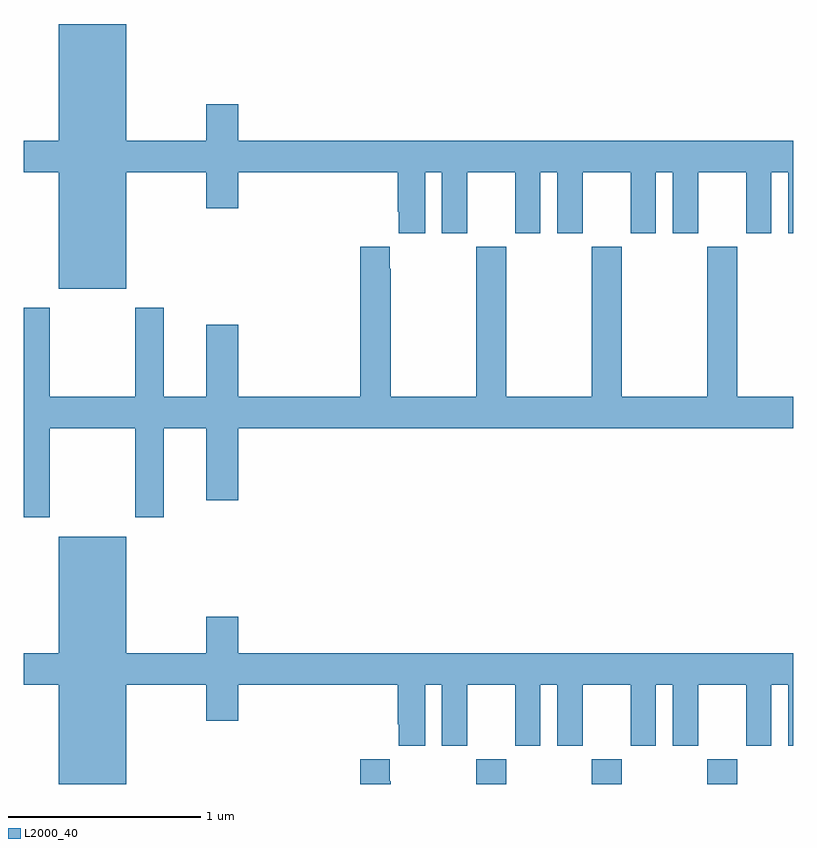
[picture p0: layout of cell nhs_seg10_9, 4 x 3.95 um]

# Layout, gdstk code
import gdstk
lib = gdstk.Library(unit=1e-6, precision=1e-09)
def R(c, l, rs):  # rectangles x0, y0, x1, y1
    for r in rs: c.add(gdstk.rectangle(r[:2], r[2:], *l))
def A(c, l, x, y, w, h, nx, ny, dx, dy):  # array of equal rectangles
    R(c, l, [(x+i*dx, y+j*dy, x+i*dx+w, y+j*dy+h) for i in range(nx) for j in range(ny)])
def P(c, l, *ps):  # polygons
    for p in ps: c.add(gdstk.Polygon(p, *l))
L2000_40 = (2000, 40)

nhs_seg10_9 = lib.new_cell('nhs_seg10_9')
A(nhs_seg10_9, L2000_40, 113.353, 1266.5, 0.155, 0.128, 3, 1, 0.6, 0)
P(nhs_seg10_9, L2000_40, [(111.532,1269.68),(111.95,1269.68),(111.95,1269.492),(112.114,1269.492),(112.114,1269.68),(112.943,1269.68),(112.943,1269.475),(112.949,1269.475),(112.949,1269.363),(113.086,1269.363),(113.086,1269.68),(113.174,1269.68),(113.174,1269.363),(113.305,1269.363),(113.305,1269.68),(113.555,1269.68),(113.555,1269.363),(113.686,1269.363),(113.686,1269.68),(113.774,1269.68),(113.774,1269.363),(113.905,1269.363),(113.905,1269.68),(114.155,1269.68),(114.155,1269.363),(114.286,1269.363),(114.286,1269.68),(114.374,1269.68),(114.374,1269.363),(114.505,1269.363),(114.505,1269.68),(114.755,1269.68),(114.755,1269.363),(114.886,1269.363),(114.886,1269.68),(114.974,1269.68),(114.974,1269.363),(115,1269.363),(115,1269.844),(112.114,1269.844),(112.114,1270.033),(111.95,1270.033),(111.95,1269.844),(111.532,1269.844),(111.532,1270.45),(111.182,1270.45),(111.182,1269.844),(111,1269.844),(111,1269.68),(111.182,1269.68),(111.182,1269.074),(111.532,1269.074)],
  [(111.135,1268.348),(111.58,1268.348),(111.58,1267.887),(111.727,1267.887),(111.727,1268.348),(111.95,1268.348),(111.95,1267.974),(112.114,1267.974),(112.114,1268.348),(115,1268.348),(115,1268.512),(114.708,1268.512),(114.708,1269.292),(114.553,1269.292),(114.553,1268.512),(114.108,1268.512),(114.108,1269.292),(113.953,1269.292),(113.953,1268.512),(113.508,1268.512),(113.508,1269.292),(113.353,1269.292),(113.353,1268.512),(112.908,1268.512),(112.908,1269.179),(112.903,1269.179),(112.903,1269.292),(112.748,1269.292),(112.748,1268.512),(112.114,1268.512),(112.114,1268.887),(111.95,1268.887),(111.95,1268.512),(111.727,1268.512),(111.727,1268.974),(111.58,1268.974),(111.58,1268.512),(111.135,1268.512),(111.135,1268.974),(111,1268.974),(111,1267.887),(111.135,1267.887)],
  [(111.532,1267.016),(111.95,1267.016),(111.95,1266.828),(112.114,1266.828),(112.114,1267.016),(112.943,1267.016),(112.943,1266.811),(112.949,1266.811),(112.949,1266.699),(113.086,1266.699),(113.086,1267.016),(113.174,1267.016),(113.174,1266.699),(113.305,1266.699),(113.305,1267.016),(113.555,1267.016),(113.555,1266.699),(113.686,1266.699),(113.686,1267.016),(113.774,1267.016),(113.774,1266.699),(113.905,1266.699),(113.905,1267.016),(114.155,1267.016),(114.155,1266.699),(114.286,1266.699),(114.286,1267.016),(114.374,1267.016),(114.374,1266.699),(114.505,1266.699),(114.505,1267.016),(114.755,1267.016),(114.755,1266.699),(114.886,1266.699),(114.886,1267.016),(114.974,1267.016),(114.974,1266.699),(115,1266.699),(115,1267.18),(112.114,1267.18),(112.114,1267.369),(111.95,1267.369),(111.95,1267.18),(111.532,1267.18),(111.532,1267.786),(111.182,1267.786),(111.182,1267.18),(111,1267.18),(111,1267.016),(111.182,1267.016),(111.182,1266.5),(111.532,1266.5)],
  [(112.908,1266.515),(112.903,1266.515),(112.903,1266.628),(112.748,1266.628),(112.748,1266.5),(112.908,1266.5)])

lib.write_gds('nhs_seg10_9.gds')
